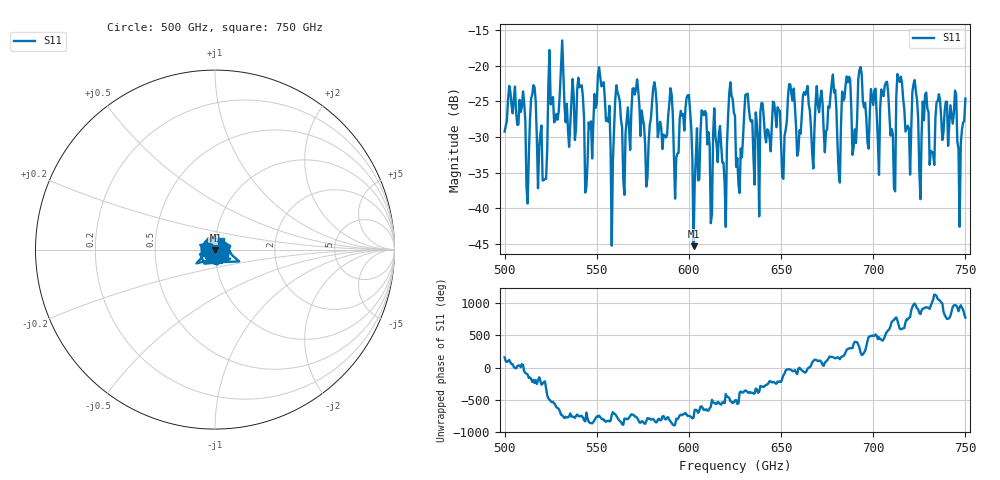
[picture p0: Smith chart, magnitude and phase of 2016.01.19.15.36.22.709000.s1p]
!Created with skrf (http://scikit-rf.org).
# GHz S RI R 50.0
!freq ReS11 ImS11
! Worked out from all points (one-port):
!   401 points, 500 GHz to 750 GHz, reference 50 ohm
!   lowest |S11| = -45.3 dB at 602.5 GHz (marker M1), VSWR 1.01, Z = 50.2 - j0.496 ohm
!   |S11| at or under -10 dB: start of sweep to end of sweep
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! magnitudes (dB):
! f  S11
! 500 GHz  -29.2
! 509.4 GHz  -25.7
! 512.5 GHz  -39.3
! 515.6 GHz  -22.7
! 521.9 GHz  -35.9
! 525 GHz  -25.4
! 531.2 GHz  -16.5
! 541.2 GHz  -22.8
! 545 GHz  -33.6
! 551.9 GHz  -21.6
! 557.5 GHz  -31.8
! 562.5 GHz  -25.0
! 593.8 GHz  -32.3
! 599.4 GHz  -24.1
! 602.5 GHz  -45.3
! 608.1 GHz  -27.0
! 611.2 GHz  -31.3
! 625 GHz  -27.0
! 651.2 GHz  -35.9
! 656.2 GHz  -24.9
! 687.5 GHz  -22.0
! 706.9 GHz  -22.4
! 710.6 GHz  -29.6
! 714.4 GHz  -22.3
! 718.8 GHz  -28.4
! 722.5 GHz  -22.0
! 746.9 GHz  -42.6
! 750 GHz  -24.6
